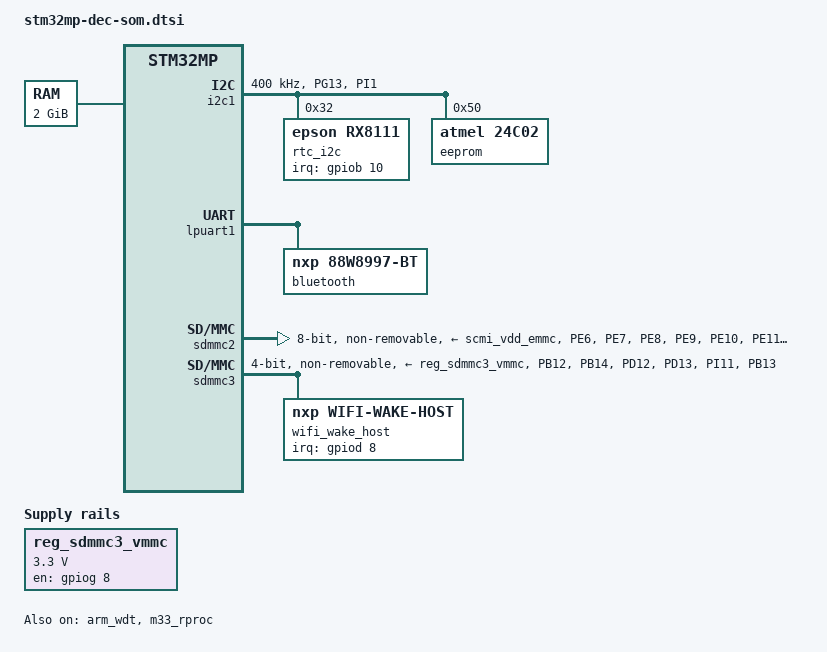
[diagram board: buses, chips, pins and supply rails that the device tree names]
// SPDX-License-Identifier: (GPL-2.0-only OR BSD-3-Clause)
/*
 * Copyright (C) 2026 Diamond Technologies
 */

/ {
	memory@80000000 {
		device_type = "memory";
		reg = <0x0 0x80000000 0x0 0x80000000>;
	};

	reserved-memory {
		#address-cells = <2>;
		#size-cells = <2>;
		ranges;

		/* Internal SRAM */
		tfa_bl31: tfa-bl31@a000000 {
			reg = <0x0 0xa000000 0x0 0x20000>;
			no-map;
		};

		hpdma1_lli: hpdma1-lli@a020000 {
			reg = <0x0 0xa020000 0x0 0xf0f0>;
			no-map;
		};

		hpdma2_lli: hpdma2-lli@a02f0f0 {
			reg = <0x0 0xa02f0f0 0x0 0xf0f0>;
			no-map;
		};

		hpdma3_lli: hpdma3-lli@a03e1e0 {
			reg = <0x0 0xa03e1e0 0x0 0x1e20>;
			no-map;
		};

		bsec_mirror: bsec-mirror@a040000 {
			reg = <0x0 0xa040000 0x0 0x1000>;
			no-map;
		};

		cm33_sram1: cm33-sram1@a041000 {
			reg = <0x0 0xa041000 0x0 0x1f000>;
			no-map;
		};

		cm33_sram2: cm33-sram2@a060000 {
			reg = <0x0 0xa060000 0x0 0x20000>;
			no-map;
		};

		cm33_retram: cm33-retram@a080000 {
			reg = <0x0 0xa080000 0x0 0x1f000>;
			no-map;
		};

		ddr_param: ddr-param@a09f000 {
			reg = <0x0 0xa09f000 0x0 0x1000>;
			no-map;
		};

		cm0_cube_fw: cm0-cube-fw@200C0000 {
			compatible = "shared-dma-pool";
			reg = <0x0 0x200C0000 0x0 0x4000>;
			no-map;
		};

		cm0_cube_data: cm0-cube-data@200C4000 {
			compatible = "shared-dma-pool";
			reg = <0x0 0x200C4000 0x0 0x2000>;
			no-map;
		};

		ipc_shmem_2: ipc-shmem-2@200C6000 {
			compatible = "shared-dma-pool";
			reg = <0x0 0x200C6000 0x0 0x2000>;
			no-map;
		};

		/* Backup SRAM */
		bl31_lowpower: bl31-lowpower@42000000 {
			reg = <0x0 0x42000000 0x0 0x1000>;
			no-map;
		};

		tfm_its: tfm-its@42001000 {
			reg = <0x0 0x42001000 0x0 0x1000>;
			no-map;
		};

		/* OSPI memory-mapped */
		mm_ospi1: mm-ospi@60000000 {
			reg = <0x0 0x60000000 0x0 0x10000000>;
			no-map;
		};

		/* DDR */
		tfm_code: tfm-code@80000000 {
			reg = <0x0 0x80000000 0x0 0x100000>;
			no-map;
		};

		cm33_cube_fw: cm33-cube-fw@80100000 {
			reg = <0x0 0x80100000 0x0 0x800000>;
			no-map;
		};

		tfm_data: tfm-data@80900000 {
			reg = <0x0 0x80900000 0x0 0x100000>;
			no-map;
		};

		cm33_cube_data: cm33-cube-data@80a00000 {
			reg = <0x0 0x80a00000 0x0 0x800000>;
			no-map;
		};

		ipc_shmem_1: ipc-shmem-1@81200000 {
			compatible = "shared-dma-pool";
			reg = <0x0 0x81200000 0x0 0xf8000>;
			no-map;
		};

		vdev0vring0: vdev0vring0@812f8000 {
			compatible = "shared-dma-pool";
			reg = <0x0 0x812f8000 0x0 0x1000>;
			no-map;
		};

		vdev0vring1: vdev0vring1@812f9000 {
			compatible = "shared-dma-pool";
			reg = <0x0 0x812f9000 0x0 0x1000>;
			no-map;
		};

		vdev0buffer: vdev0buffer@812fa000 {
			compatible = "shared-dma-pool";
			reg = <0x0 0x812fa000 0x0 0x6000>;
			no-map;
		};

		spare1: spare1@81300000 {
			reg = <0x0 0x81300000 0x0 0xcc0000>;
			no-map;
		};

		bl31_context: bl31-context@81fc0000 {
			reg = <0x0 0x81fc0000 0x0 0x40000>;
			no-map;
		};

		op_tee: op-tee@82000000 {
			reg = <0x0 0x82000000 0x0 0x2000000>;
			no-map;
		};

		gpu_reserved: gpu-reserved@fa800000 {
			reg = <0x0 0xfa800000 0x0 0x4000000>;
			no-map;
		};

		ltdc_sec_layer: ltdc-sec-layer@fe800000 {
			reg = <0x0 0xfe800000 0x0 0x800000>;
			no-map;
		};

		ltdc_sec_rotation: ltdc-sec-rotation@ff000000 {
			reg = <0x0 0xff000000 0x0 0x1000000>;
			no-map;
		};

		linux,cma {
			compatible = "shared-dma-pool";
			reusable;
			alloc-ranges = <0 0x80000000 0 0x40000000>;
			size = <0x0 0x8000000>;
			alignment = <0x0 0x2000>;
			linux,cma-default;
		};
	};

	/*
	 * WLAN power-enable rail for IW610 (WLAN_EN, really IW610_nRST).
	 * Rev 02 SOM: PG8. PB1 is now one of the BOARD_ID0-3 straps.
	 */
	reg_sdmmc3_vmmc: regulator-sdmmc3 {
		compatible = "regulator-fixed";
		regulator-name = "WLAN_EN";
		regulator-min-microvolt = <3300000>;
		regulator-max-microvolt = <3300000>;
		gpio = <&gpiog 8 GPIO_ACTIVE_HIGH>;
		startup-delay-us = <20000>;
		enable-active-high;
	};
};

&ahbsr {
	mbox_client: mailbox-client@1 {
		compatible = "mbox-cdev";
		reg = <1 0>;
		memory-region = <&ipc_shmem_2>;
		mboxes = <&ipcc2 0>;
		mbox-names = "rx-tx";
		status = "okay";
	};
};

&arm_wdt {
	timeout-sec = <32>;
	status = "okay";
};

&i2c1 {
	pinctrl-names = "default", "sleep";
	pinctrl-0 = <&i2c1_pins_mx>;
	pinctrl-1 = <&i2c1_sleep_pins_mx>;
	i2c-scl-rising-time-ns = <108>;
	i2c-scl-falling-time-ns = <12>;
	clock-frequency = <400000>;
	/delete-property/ dmas;
	/delete-property/ dma-names;
	status = "okay";

	rtc_i2c: rtc@32 {
		compatible = "epson,rx8111";
		reg = <0x32>;
		pinctrl-names = "default";
		pinctrl-0 = <&pinctrl_rtc>;
		interrupt-parent = <&gpiob>;
		interrupts = <10 GPIO_ACTIVE_LOW>;
	};

	eeprom@50 {
		compatible = "atmel,24c02";
		reg = <0x50>;
		pagesize = <16>;
		status = "okay";
	};
};

&ipcc1 {
	status = "okay";
};

&ipcc2 {
	status = "okay";
};

&lpuart1 {
	pinctrl-names = "default", "sleep";
	pinctrl-0 = <&lpuart1_pins_z_mx>;
	pinctrl-1 = <&lpuart1_sleep_pins_z_mx>;
	uart-has-rtscts;
	/delete-property/ dmas;
	/delete-property/ dma-names;
	status = "okay";

	bluetooth {
		/*
		 * 6.6's btnxpuart only knows nxp,88w8987-bt and nxp,88w8997-bt.
		 * The IW610's BT subsystem responds to the 88w8997 HCI vendor
		 * command set when the combined sduart_iw610.bin.se firmware
		 * has been pre-loaded by the moal WLAN driver via SDIO. Same
		 * trick the i.MX93 IW612 uses in this same family.
		 */
		compatible = "nxp,88w8997-bt";
	};
};

&m33_rproc {
	mboxes = <&ipcc1 0x100>, <&ipcc1 0x101>, <&ipcc1 2>;
	mbox-names = "vq0", "vq1", "shutdown";
	status = "okay";
};

&pinctrl {
	i2c1_pins_mx: i2c1_mx-0 {
		pins {
			pinmux = <STM32_PINMUX('G', 13, AF9)>, /* I2C1_SCL */
				 <STM32_PINMUX('I', 1, AF9)>;  /* I2C1_SDA */
			bias-disable;
			drive-open-drain;
			slew-rate = <0>;
		};
	};

	i2c1_sleep_pins_mx: i2c1_sleep_mx-0 {
		pins {
			pinmux = <STM32_PINMUX('G', 13, ANALOG)>,
				 <STM32_PINMUX('I', 1, ANALOG)>;
		};
	};

	pinctrl_rtc: pinctrl_rtc-0 {
		pins {
			pinmux = <STM32_PINMUX('B', 10, GPIO)>; /* RTC_nINT */
			bias-pull-up;
		};
	};

	sdmmc2_opendrain_pins_mx: sdmmc2_opendrain_mx-0 {
		pins1 {
			pinmux = <STM32_PINMUX('E', 6, AF12)>,
				 <STM32_PINMUX('E', 7, AF12)>,
				 <STM32_PINMUX('E', 8, AF12)>,
				 <STM32_PINMUX('E', 9, AF12)>,
				 <STM32_PINMUX('E', 10, AF12)>,
				 <STM32_PINMUX('E', 11, AF12)>,
				 <STM32_PINMUX('E', 12, AF12)>,
				 <STM32_PINMUX('E', 13, AF12)>;
			bias-pull-up;
			drive-push-pull;
			slew-rate = <1>;
		};
		pins2 {
			pinmux = <STM32_PINMUX('E', 14, AF12)>;
			bias-pull-up;
			drive-push-pull;
			slew-rate = <2>;
		};
		pins3 {
			pinmux = <STM32_PINMUX('E', 15, AF12)>;
			bias-pull-up;
			drive-open-drain;
			slew-rate = <1>;
		};
	};

	sdmmc2_pins_mx: sdmmc2_mx-0 {
		pins1 {
			pinmux = <STM32_PINMUX('E', 6, AF12)>,  /* SDMMC2_D6 */
				 <STM32_PINMUX('E', 7, AF12)>,  /* SDMMC2_D7 */
				 <STM32_PINMUX('E', 8, AF12)>,  /* SDMMC2_D2 */
				 <STM32_PINMUX('E', 9, AF12)>,  /* SDMMC2_D5 */
				 <STM32_PINMUX('E', 10, AF12)>, /* SDMMC2_D4 */
				 <STM32_PINMUX('E', 11, AF12)>, /* SDMMC2_D1 */
				 <STM32_PINMUX('E', 12, AF12)>, /* SDMMC2_D3 */
				 <STM32_PINMUX('E', 13, AF12)>, /* SDMMC2_D0 */
				 <STM32_PINMUX('E', 15, AF12)>; /* SDMMC2_CMD */
			bias-pull-up;
			drive-push-pull;
			slew-rate = <1>;
		};
		pins2 {
			pinmux = <STM32_PINMUX('E', 14, AF12)>; /* SDMMC2_CK */
			bias-pull-up;
			drive-push-pull;
			slew-rate = <2>;
		};
	};

	sdmmc2_sleep_pins_mx: sdmmc2_sleep_mx-0 {
		pins {
			pinmux = <STM32_PINMUX('E', 6, ANALOG)>,
				 <STM32_PINMUX('E', 7, ANALOG)>,
				 <STM32_PINMUX('E', 8, ANALOG)>,
				 <STM32_PINMUX('E', 9, ANALOG)>,
				 <STM32_PINMUX('E', 10, ANALOG)>,
				 <STM32_PINMUX('E', 11, ANALOG)>,
				 <STM32_PINMUX('E', 12, ANALOG)>,
				 <STM32_PINMUX('E', 13, ANALOG)>,
				 <STM32_PINMUX('E', 14, ANALOG)>,
				 <STM32_PINMUX('E', 15, ANALOG)>;
		};
	};

	sdmmc3_opendrain_pins_mx: sdmmc3_opendrain_mx-0 {
		pins1 {
			pinmux = <STM32_PINMUX('B', 12, AF10)>,
				 <STM32_PINMUX('B', 14, AF10)>,
				 <STM32_PINMUX('D', 13, AF10)>,
				 <STM32_PINMUX('I', 11, AF10)>;
			bias-pull-up;
			drive-push-pull;
			slew-rate = <0>;
		};
		pins2 {
			pinmux = <STM32_PINMUX('B', 13, AF10)>;
			bias-pull-up;
			drive-push-pull;
			slew-rate = <1>;
		};
		pins3 {
			pinmux = <STM32_PINMUX('D', 12, AF10)>;
			bias-pull-up;
			drive-open-drain;
			slew-rate = <0>;
		};
	};

	sdmmc3_pins_mx: sdmmc3_mx-0 {
		pins1 {
			pinmux = <STM32_PINMUX('B', 12, AF10)>, /* SDMMC3_D2 */
				 <STM32_PINMUX('B', 14, AF10)>, /* SDMMC3_D0 */
				 <STM32_PINMUX('D', 12, AF10)>, /* SDMMC3_CMD */
				 <STM32_PINMUX('D', 13, AF10)>, /* SDMMC3_D1 */
				 <STM32_PINMUX('I', 11, AF10)>; /* SDMMC3_D3 */
			bias-pull-up;
			drive-push-pull;
			slew-rate = <0>;
		};
		pins2 {
			pinmux = <STM32_PINMUX('B', 13, AF10)>; /* SDMMC3_CK */
			bias-pull-up;
			drive-push-pull;
			slew-rate = <1>;
		};
	};

	sdmmc3_sleep_pins_mx: sdmmc3_sleep_mx-0 {
		pins {
			pinmux = <STM32_PINMUX('B', 12, ANALOG)>,
				 <STM32_PINMUX('B', 13, ANALOG)>,
				 <STM32_PINMUX('B', 14, ANALOG)>,
				 <STM32_PINMUX('D', 12, ANALOG)>,
				 <STM32_PINMUX('D', 13, ANALOG)>,
				 <STM32_PINMUX('I', 11, ANALOG)>;
		};
	};
};

&pinctrl_z {
	lpuart1_pins_z_mx: lpuart1_mx-0 {
		pins {
			pinmux = <STM32_PINMUX('Z', 0, AF6)>, /* LPUART1_TX */
				 <STM32_PINMUX('Z', 1, AF6)>, /* LPUART1_RX */
				 <STM32_PINMUX('Z', 2, AF6)>, /* LPUART1_RTS */
				 <STM32_PINMUX('Z', 3, AF6)>; /* LPUART1_CTS */
			bias-disable;
			drive-push-pull;
			slew-rate = <0>;
		};
	};

	lpuart1_sleep_pins_z_mx: lpuart1_sleep_mx-0 {
		pins {
			pinmux = <STM32_PINMUX('Z', 0, ANALOG)>,
				 <STM32_PINMUX('Z', 1, ANALOG)>,
				 <STM32_PINMUX('Z', 2, ANALOG)>,
				 <STM32_PINMUX('Z', 3, ANALOG)>;
		};
	};
};

/* PMIC outputs (STPMIC25BPQR on I2C7, managed by OP-TEE/SCMI firmware) */
&scmi_regu {
	scmi_vddio1: regulator@0 {
		regulator-min-microvolt = <1800000>;
		regulator-max-microvolt = <3300000>;
	};
	scmi_vddio2: regulator@1 {
		reg = <VOLTD_SCMI_VDDIO2>;
		regulator-name = "vddio2";
	};
	scmi_vddio3: regulator@2 {
		reg = <VOLTD_SCMI_VDDIO3>;
		regulator-name = "vddio3";
	};
	scmi_vddio4: regulator@3 {
		reg = <VOLTD_SCMI_VDDIO4>;
		regulator-name = "vddio4";
	};
	scmi_vdd33ucpd: regulator@5 {
		reg = <VOLTD_SCMI_UCPD>;
		regulator-name = "vdd33ucpd";
	};
	scmi_vdda18adc: regulator@7 {
		reg = <VOLTD_SCMI_ADC>;
		regulator-name = "vdda18adc";
	};
	scmi_vddcore: regulator@11 {
		reg = <VOLTD_SCMI_STPMIC2_BUCK2>;
		regulator-name = "vddcore";
	};
	scmi_vddio1v8: regulator@12 {
		reg = <VOLTD_SCMI_STPMIC2_BUCK4>;
		regulator-name = "vddio_1v8";
	};
	scmi_v1v8: regulator@14 {
		reg = <VOLTD_SCMI_STPMIC2_BUCK5>;
		regulator-name = "v1v8";
	};
	scmi_v3v3: regulator@16 {
		reg = <VOLTD_SCMI_STPMIC2_BUCK7>;
		regulator-name = "v3v3";
	};
	scmi_vdd_emmc: regulator@18 {
		reg = <VOLTD_SCMI_STPMIC2_LDO2>;
		regulator-name = "vdd_emmc";
	};
	scmi_vdd3v3_usb: regulator@20 {
		reg = <VOLTD_SCMI_STPMIC2_LDO4>;
		regulator-name = "vdd3v3_usb";
	};
	scmi_vdd_sdcard: regulator@22 {
		reg = <VOLTD_SCMI_STPMIC2_LDO7>;
		regulator-name = "vdd_sdcard";
	};
};

&sdmmc2 {
	pinctrl-names = "default", "opendrain", "sleep";
	pinctrl-0 = <&sdmmc2_pins_mx>;
	pinctrl-1 = <&sdmmc2_opendrain_pins_mx>;
	pinctrl-2 = <&sdmmc2_sleep_pins_mx>;
	non-removable;
	no-sd;
	no-sdio;
	st,neg-edge;
	bus-width = <8>;
	vmmc-supply = <&scmi_vdd_emmc>;
	vqmmc-supply = <&scmi_vddio2>;
	mmc-ddr-1_8v;
	mmc-hs200-1_8v;
	status = "okay";
};

&sdmmc3 {
	pinctrl-names = "default", "opendrain", "sleep";
	pinctrl-0 = <&sdmmc3_pins_mx>;
	pinctrl-1 = <&sdmmc3_opendrain_pins_mx>;
	pinctrl-2 = <&sdmmc3_sleep_pins_mx>;
	non-removable;
	st,neg-edge;
	bus-width = <4>;
	vmmc-supply = <&reg_sdmmc3_vmmc>;
	cap-power-off-card;
	keep-power-in-suspend;
	#address-cells = <1>;
	#size-cells = <0>;
	status = "okay";

	wifi_wake_host {
		compatible = "nxp,wifi-wake-host";
		interrupt-parent = <&gpiod>;
		interrupts = <8 IRQ_TYPE_LEVEL_LOW>;
		interrupt-names = "host-wake";
	};
};
